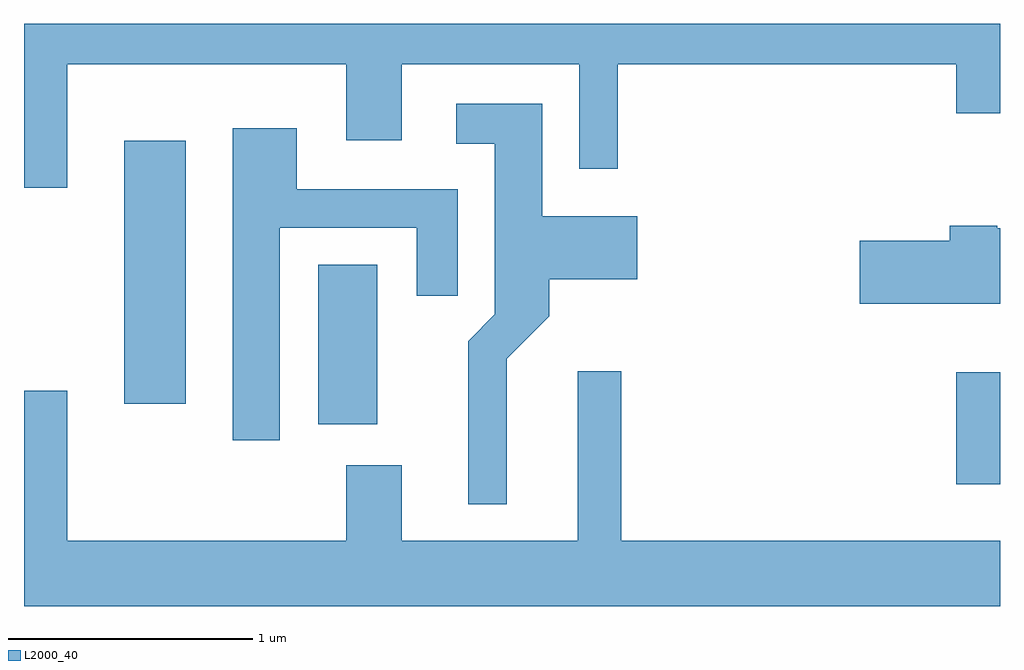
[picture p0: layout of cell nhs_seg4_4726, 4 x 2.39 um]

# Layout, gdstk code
import gdstk
lib = gdstk.Library(unit=1e-6, precision=1e-09)
def R(c, l, rs):  # rectangles x0, y0, x1, y1
    for r in rs: c.add(gdstk.rectangle(r[:2], r[2:], *l))
def P(c, l, *ps):  # polygons
    for p in ps: c.add(gdstk.Polygon(p, *l))
L2000_40 = (2000, 40)

nhs_seg4_4726 = lib.new_cell('nhs_seg4_4726')
R(nhs_seg4_4726, L2000_40, [(327.431,1324.096,327.611,1324.554), (324.816,1324.341,325.059,1324.994), (324.021,1324.426,324.274,1325.504)])
P(nhs_seg4_4726, L2000_40, [(323.789,1325.816),(324.931,1325.816),(324.931,1325.506),(325.159,1325.506),(325.159,1325.816),(325.886,1325.816),(325.886,1325.388),(326.044,1325.388),(326.044,1325.816),(327.431,1325.816),(327.431,1325.616),(327.611,1325.616),(327.611,1325.982),(323.611,1325.982),(323.611,1325.311),(323.789,1325.311)],
  [(325.589,1324.609),(325.764,1324.784),(325.764,1324.936),(326.124,1324.936),(326.124,1325.194),(325.734,1325.194),(325.734,1325.654),(325.383,1325.654),(325.383,1325.491),(325.541,1325.491),(325.541,1324.792),(325.431,1324.682),(325.431,1324.013),(325.589,1324.013)],
  [(324.659,1325.146),(325.221,1325.146),(325.221,1324.868),(325.389,1324.868),(325.389,1325.304),(324.729,1325.304),(324.729,1325.554),(324.466,1325.554),(324.466,1324.276),(324.659,1324.276)],
  [(327.611,1325.144),(327.6,1325.144),(327.6,1325.154),(327.406,1325.154),(327.406,1325.094),(327.036,1325.094),(327.036,1324.836),(327.611,1324.836)],
  [(327.611,1323.864),(326.059,1323.864),(326.059,1324.559),(325.881,1324.559),(325.881,1323.864),(325.159,1323.864),(325.159,1324.174),(324.931,1324.174),(324.931,1323.864),(323.789,1323.864),(323.789,1324.479),(323.611,1324.479),(323.611,1323.596),(327.611,1323.596)])

lib.write_gds('nhs_seg4_4726.gds')
